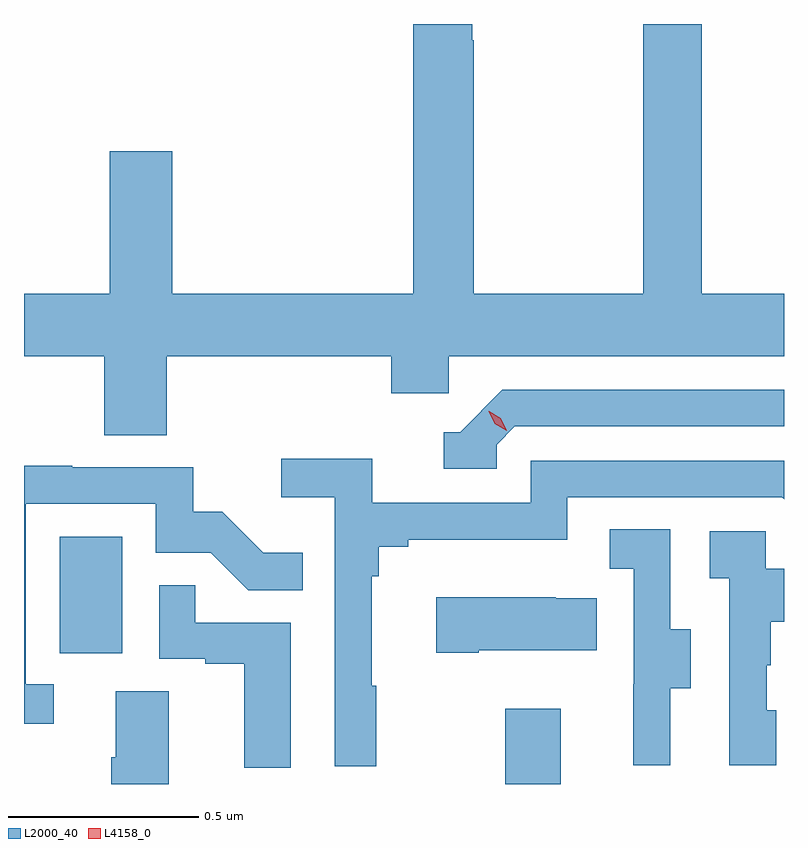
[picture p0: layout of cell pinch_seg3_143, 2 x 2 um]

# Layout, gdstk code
import gdstk
lib = gdstk.Library(unit=1e-6, precision=1e-09)
def R(c, l, rs):  # rectangles x0, y0, x1, y1
    for r in rs: c.add(gdstk.rectangle(r[:2], r[2:], *l))
def P(c, l, *ps):  # polygons
    for p in ps: c.add(gdstk.Polygon(p, *l))
L2000_40 = (2000, 40)
L4158_0 = (4158, 0)

pinch_seg3_143 = lib.new_cell('pinch_seg3_143')
R(pinch_seg3_143, L2000_40, [(1143.07,726.43,1143.217,726.628), (1141.898,726.774,1142.062,727.081)])
P(pinch_seg3_143, L2000_40, [(1142.18,727.556),(1142.771,727.556),(1142.771,727.458),(1142.922,727.458),(1142.922,727.556),(1143.804,727.556),(1143.804,727.72),(1143.588,727.72),(1143.588,728.43),(1143.433,728.43),(1143.433,727.72),(1142.988,727.72),(1142.988,728.387),(1142.983,728.387),(1142.983,728.43),(1142.828,728.43),(1142.828,727.72),(1142.194,727.72),(1142.194,728.095),(1142.03,728.095),(1142.03,727.72),(1141.804,727.72),(1141.804,727.556),(1142.015,727.556),(1142.015,727.348),(1142.18,727.348)],
  [(1143.048,727.323),(1143.096,727.371),(1143.804,727.371),(1143.804,727.467),(1143.063,727.467),(1142.952,727.356),(1142.909,727.356),(1142.909,727.26),(1143.048,727.26)],
  [(1142.731,726.689),(1142.719,726.689),(1142.719,726.977),(1142.738,726.977),(1142.738,727.054),(1142.815,727.054),(1142.815,727.073),(1143.234,727.073),(1143.234,727.185),(1143.798,727.185),(1143.804,727.179),(1143.804,727.281),(1143.138,727.281),(1143.138,727.17),(1142.72,727.17),(1142.72,727.286),(1142.481,727.286),(1142.481,727.184),(1142.622,727.184),(1142.622,726.477),(1142.731,726.477)],
  [(1141.882,726.693),(1141.809,726.693),(1141.809,727.167),(1142.151,727.167),(1142.151,727.038),(1142.296,727.038),(1142.394,726.94),(1142.537,726.94),(1142.537,727.039),(1142.433,727.039),(1142.326,727.146),(1142.25,727.146),(1142.25,727.263),(1141.931,727.263),(1141.931,727.268),(1141.804,727.268),(1141.804,726.588),(1141.882,726.588)],
  [(1143.505,726.682),(1143.559,726.682),(1143.559,726.837),(1143.504,726.837),(1143.504,727.1),(1143.345,727.1),(1143.345,726.997),(1143.408,726.997),(1143.408,726.693),(1143.407,726.693),(1143.407,726.48),(1143.505,726.48)],
  [(1143.784,726.624),(1143.759,726.624),(1143.759,726.743),(1143.769,726.743),(1143.769,726.857),(1143.804,726.857),(1143.804,726.997),(1143.756,726.997),(1143.756,727.095),(1143.609,727.095),(1143.609,726.971),(1143.66,726.971),(1143.66,726.48),(1143.784,726.48)],
  [(1142.506,726.855),(1142.255,726.855),(1142.255,726.953),(1142.16,726.953),(1142.16,726.759),(1142.281,726.759),(1142.281,726.747),(1142.384,726.747),(1142.384,726.473),(1142.506,726.473)],
  [(1143.001,726.782),(1143.311,726.782),(1143.311,726.919),(1143.203,726.919),(1143.203,726.922),(1142.889,726.922),(1142.889,726.775),(1143.001,726.775)],
  [(1142.185,726.674),(1142.045,726.674),(1142.045,726.5),(1142.033,726.5),(1142.033,726.43),(1142.185,726.43)])
P(pinch_seg3_143, L4158_0, [(1143.074,727.359),(1143.043,727.378),(1143.027,727.411),(1143.027,727.411),(1143.028,727.411),(1143.058,727.392),(1143.074,727.359),(1143.074,727.359)])

lib.write_gds('pinch_seg3_143.gds')
